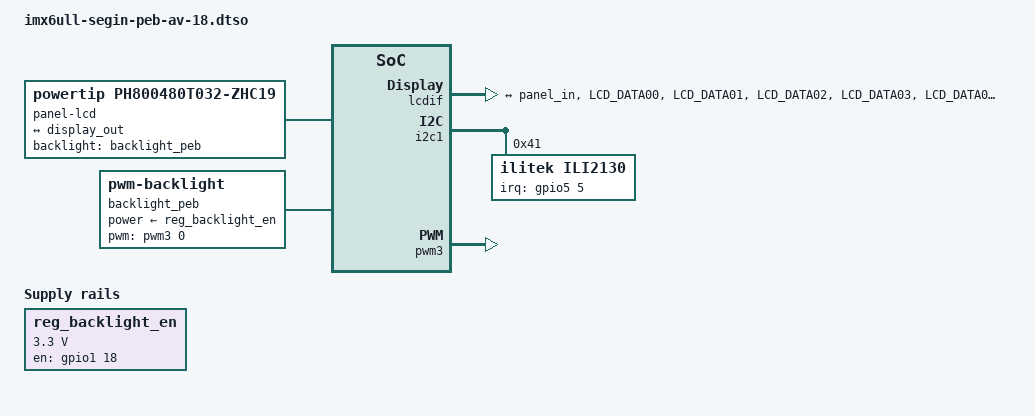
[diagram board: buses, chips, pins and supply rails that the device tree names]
// SPDX-License-Identifier: (GPL-2.0+ OR MIT)
/*
 * Copyright (C) 2026 PHYTEC Messtechnik GmbH
 * Author: Christian Hemp <c.hemp@phytec.de>
 */

/dts-v1/;
/plugin/;

#include "imx6ull-pinfunc.h"
#include "imx6ull-pinfunc-snvs.h"
#include <dt-bindings/gpio/gpio.h>
#include <dt-bindings/interrupt-controller/irq.h>

&{/} {

	panel-lcd {
		compatible = "powertip,ph800480t032-zhc19";
		backlight = <&backlight_peb>;
		status = "okay";
		port {
			panel_in: endpoint {
				remote-endpoint = <&display_out>;
			};
		};
	};

	backlight_peb: backlight {
		compatible = "pwm-backlight";
		brightness-levels = < 0  4 8 16 32 64 128 255>;
		default-brightness-level = <5>;
		power-supply = <&reg_backlight_en>;
		pwms = <&pwm3 0 5000000 0>;
		status = "okay";
	};

	reg_backlight_en: regulator-backlight-en {
		compatible = "regulator-fixed";
		pinctrl-names = "default";
		pinctrl-0 = <&pinctrl_backlight_en>;
		regulator-name = "Backlight";
		regulator-min-microvolt = <3300000>;
		regulator-max-microvolt = <3300000>;
		gpio = <&gpio1 18 GPIO_ACTIVE_HIGH>;
		enable-active-high;
		status = "okay";
	};
};

&lcdif {
	pinctrl-names = "default";
	pinctrl-0 = <&pinctrl_lcdif_dat>;
	status = "okay";

	port {
		display_out: endpoint {
			remote-endpoint = <&panel_in>;
		};
	};
};

&i2c1 {
	ili2130: touchscreen@41 {
		compatible = "ilitek,ili2130";
		reg = <0x41>;
		pinctrl-names = "default";
		pinctrl-0 = <&pinctrl_ili2130>;
		interrupt-parent = <&gpio5>;
		interrupts = <5 IRQ_TYPE_EDGE_FALLING>;
		touchscreen-size-x = <800>;
		touchscreen-size-y = <480>;
		wakeup-source;
		status = "okay";
	};
};

&pwm3 {
	status = "okay";
};

&iomuxc {
	pinctrl_ili2130: ili2130grp {
		fsl,pins = <
			MX6ULL_PAD_SNVS_TAMPER5__GPIO5_IO05	0x1b0b0
		>;
	};

	pinctrl_backlight_en: backlightengrp {
		fsl,pins = <
			MX6UL_PAD_UART1_CTS_B__GPIO1_IO18	0x1b0b0
		>;
	};

	pinctrl_lcdif_dat: lcdifdatgrp {
		fsl,pins = <
			MX6UL_PAD_LCD_DATA00__LCDIF_DATA00  0x59
			MX6UL_PAD_LCD_DATA01__LCDIF_DATA01  0x59
			MX6UL_PAD_LCD_DATA02__LCDIF_DATA02  0x59
			MX6UL_PAD_LCD_DATA03__LCDIF_DATA03  0x59
			MX6UL_PAD_LCD_DATA04__LCDIF_DATA04  0x59
			MX6UL_PAD_LCD_DATA05__LCDIF_DATA05  0x59
			MX6UL_PAD_LCD_DATA06__LCDIF_DATA06  0x59
			MX6UL_PAD_LCD_DATA07__LCDIF_DATA07  0x59
			MX6UL_PAD_LCD_DATA08__LCDIF_DATA08  0x59
			MX6UL_PAD_LCD_DATA09__LCDIF_DATA09  0x59
			MX6UL_PAD_LCD_DATA10__LCDIF_DATA10  0x59
			MX6UL_PAD_LCD_DATA11__LCDIF_DATA11  0x59
			MX6UL_PAD_LCD_DATA12__LCDIF_DATA12  0x59
			MX6UL_PAD_LCD_DATA13__LCDIF_DATA13  0x59
			MX6UL_PAD_LCD_DATA14__LCDIF_DATA14  0x59
			MX6UL_PAD_LCD_DATA15__LCDIF_DATA15  0x59
			MX6UL_PAD_LCD_DATA16__LCDIF_DATA16  0x59
			MX6UL_PAD_LCD_DATA17__LCDIF_DATA17  0x59
			MX6UL_PAD_LCD_CLK__LCDIF_CLK	    0x51
			MX6UL_PAD_LCD_ENABLE__LCDIF_ENABLE  0x59
			MX6UL_PAD_LCD_HSYNC__LCDIF_HSYNC    0x59
			MX6UL_PAD_LCD_VSYNC__LCDIF_VSYNC    0x59
		>;
	};
};
